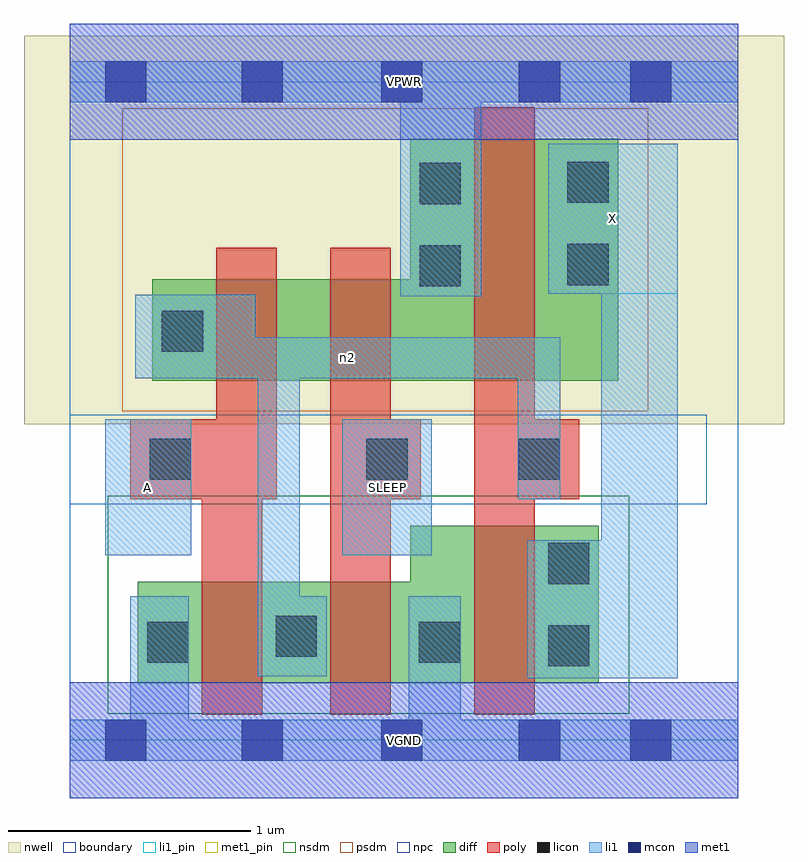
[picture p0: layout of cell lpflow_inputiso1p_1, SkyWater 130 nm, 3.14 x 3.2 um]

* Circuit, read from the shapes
.subckt lpflow_inputiso1p_1 A SLEEP VGND VPWR X n2
XM1 n2 A VGND VSUBS sky130_fd_pr__nfet_01v8 w=0.42 l=0.25
XM2 VGND SLEEP n2 VSUBS sky130_fd_pr__nfet_01v8 w=0.42 l=0.25
XM3 X n2 VGND VSUBS sky130_fd_pr__nfet_01v8 w=0.65 l=0.25
XM4 n1 A n2 n3 sky130_fd_pr__pfet_01v8 w=0.42 l=0.25
XM5 VPWR SLEEP n1 n3 sky130_fd_pr__pfet_01v8 w=0.42 l=0.25
XM6 X n2 VPWR n3 sky130_fd_pr__pfet_01v8 w=1 l=0.25
.ends

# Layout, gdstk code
import gdstk
lib = gdstk.Library(unit=1e-6, precision=1e-09)
def R(c, l, rs):  # rectangles x0, y0, x1, y1
    for r in rs: c.add(gdstk.rectangle(r[:2], r[2:], *l))
nwell = (64, 20)
diff = (65, 20)
poly = (66, 20)
licon = (66, 44)
li1_pin = (67, 16)
li1 = (67, 20)
mcon = (67, 44)
met1_pin = (68, 16)
met1 = (68, 20)
nsdm = (93, 44)
psdm = (94, 20)
npc = (95, 20)
boundary = (235, 4)

lpflow_inputiso1p_1 = lib.new_cell('lpflow_inputiso1p_1')
R(lpflow_inputiso1p_1, nwell, [(-0.19,1.305,2.95,2.91), (0,1.305,2.76,2.91)])
R(lpflow_inputiso1p_1, diff, [(0.28,0.235,2.185,0.655), (1.405,0.235,2.185,0.885), (0.34,1.485,2.265,1.905), (1.405,1.485,2.265,2.485)])
R(lpflow_inputiso1p_1, poly, [(0.545,0.105,0.795,1.325), (1.075,0.105,1.325,2.035), (1.67,0.105,1.92,2.615), (0.25,0.995,0.855,1.325), (0.605,0.995,0.855,2.035), (1.075,0.995,1.45,1.325), (1.67,0.995,2.105,1.325)])
R(lpflow_inputiso1p_1, licon, [(1.975,0.305,2.145,0.475), (0.32,0.32,0.49,0.49), (1.44,0.32,1.61,0.49), (0.85,0.345,1.02,0.515), (1.975,0.645,2.145,0.815), (0.33,1.075,0.5,1.245), (1.225,1.075,1.395,1.245), (1.855,1.075,2.025,1.245), (0.38,1.605,0.55,1.775), (1.445,1.875,1.615,2.045), (2.055,1.88,2.225,2.05), (1.445,2.215,1.615,2.385), (2.055,2.22,2.225,2.39)])
R(lpflow_inputiso1p_1, li1_pin, [(0.145,0.765,0.5,1.325), (1.125,0.765,1.495,1.325), (1.975,1.845,2.51,2.465)])
R(lpflow_inputiso1p_1, li1, [(0,-0.085,2.76,0.085), (0.25,-0.085,0.49,0.595), (1.4,-0.085,1.615,0.595), (1.89,0.255,2.51,0.825), (2.195,0.255,2.51,2.465), (0.775,0.265,0.95,1.665), (0.775,0.265,1.06,0.595), (0.145,0.765,0.5,1.325), (1.125,0.765,1.495,1.325), (1.85,0.995,2.025,1.665), (0.27,1.495,2.025,1.665), (0.27,1.495,0.765,1.84), (1.365,1.835,1.7,2.805), (1.975,1.845,2.51,2.465), (0,2.635,2.76,2.805)])
R(lpflow_inputiso1p_1, mcon, [(0.145,-0.085,0.315,0.085), (0.71,-0.085,0.88,0.085), (1.285,-0.085,1.455,0.085), (1.855,-0.085,2.025,0.085), (2.315,-0.085,2.485,0.085), (0.145,2.635,0.315,2.805), (0.71,2.635,0.88,2.805), (1.285,2.635,1.455,2.805), (1.855,2.635,2.025,2.805), (2.315,2.635,2.485,2.805)])
R(lpflow_inputiso1p_1, met1_pin, [(0,-0.24,2.76,0.24), (0,2.48,2.76,2.96)])
R(lpflow_inputiso1p_1, met1, [(0,-0.24,2.76,0.24), (0,2.48,2.76,2.96)])
R(lpflow_inputiso1p_1, nsdm, [(0.155,0.11,2.31,1.01)])
R(lpflow_inputiso1p_1, psdm, [(0.215,1.36,2.39,2.61)])
R(lpflow_inputiso1p_1, npc, [(0,0.975,2.63,1.345)])
R(lpflow_inputiso1p_1, boundary, [(0,0,2.76,2.72)])
lpflow_inputiso1p_1.add(gdstk.Label('A', (0.322,1.045), layer=67, texttype=5))
lpflow_inputiso1p_1.add(gdstk.Label('SLEEP', (1.31,1.045), layer=67, texttype=5))
lpflow_inputiso1p_1.add(gdstk.Label('X', (2.242,2.155), layer=67, texttype=5))
lpflow_inputiso1p_1.add(gdstk.Label('n2', (1.147,1.58), layer=67, texttype=5))
lpflow_inputiso1p_1.add(gdstk.Label('VPWR', (1.38,2.72), layer=68, texttype=5))
lpflow_inputiso1p_1.add(gdstk.Label('VGND', (1.38,0), layer=68, texttype=5))
lpflow_inputiso1p_1.add(gdstk.Label('A', (0.322,1.045), layer=67, texttype=16))
lpflow_inputiso1p_1.add(gdstk.Label('SLEEP', (1.31,1.045), layer=67, texttype=16))
lpflow_inputiso1p_1.add(gdstk.Label('X', (2.242,2.155), layer=67, texttype=16))
lpflow_inputiso1p_1.add(gdstk.Label('VPWR', (1.38,2.72), layer=68, texttype=16))
lpflow_inputiso1p_1.add(gdstk.Label('VGND', (1.38,0), layer=68, texttype=16))

lib.write_gds('lpflow_inputiso1p_1.gds')
